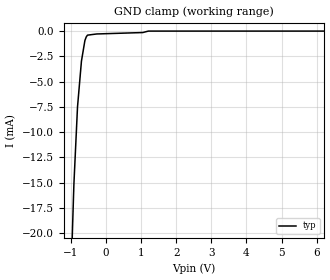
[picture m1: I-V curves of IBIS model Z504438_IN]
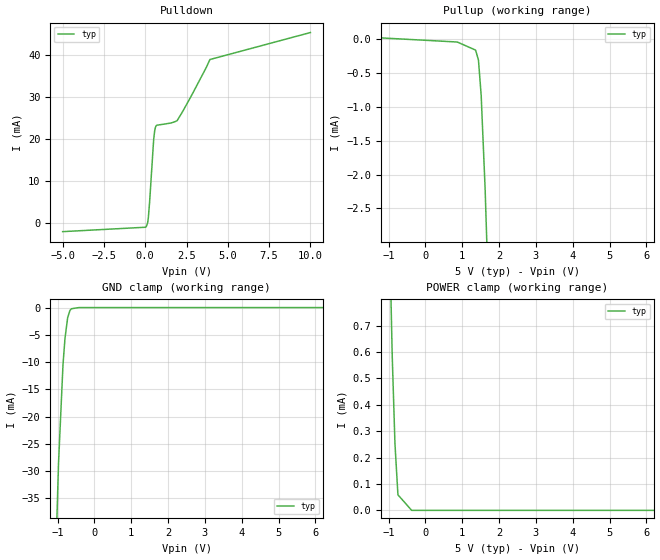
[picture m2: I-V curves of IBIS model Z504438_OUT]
| YOU ARE ONLY AUTHORIZED TO USE THIS SOFTWARE
| ACCORDING TO LICENSOR'S LICENSE RESTRICTIONS.
[IBIS Ver] 3.1
[File Name] sn54ls30j.ibs
[File Rev] 2.0
[Source] Measured and created by ICX Technology
[Date] Friday 7/14/00 9:08:14 AM
[Copyright]
| (C) COPYRIGHT 1993-2000
| MENTOR GRAPHICS CORPORATION
| ICX STANDARD LIBRARY, ICX PROJECT MODELING,
| ICX CUSTOM MODELING, ICX VENDOR MODEL
| ALL RIGHTS RESERVED.
| THE FOLLOWING ARE TRADEMARKS OR SERVICE MARKS OF
| MENTOR GRAPHICS CORPORATION:ICX (R), ICX STANDARD
| LIBRARY(R), ICX PROJECT MODELING(R), ICX CUSTOM
| MODELING(R), qualityIBIS(TM), MODELVIEWER(TM),
| AND MODELEDITOR(TM)
| ALL COPIES OF SOFTWARE, INCLUDING BUT NOT LIMITED TO
| ANY MODIFICATIONS, ENHANCEMENTS OR DERIVATIVE WORKS,
| MUST CONTAIN ALL MENTOR GRAPHICS CORPORATION'S
| NOTICES AND LEGENDS, INCLUDING THOSE EMBEDDED IN
| SOFTWARE AND THOSE AFFIXED TO SOFTWARE MEDIUM
| AND CONTAINER, AS RECEIVED FROM MENTOR GRAPHICS
| CORPORATION.
|  ZAP Model Builder 2.7
[Component] SN54LS30J
[Manufacturer] OnSemiconductor
[Package]
| variable   typ   min   max
R_pkg  .21ohms NA NA
L_pkg  4.543nH NA NA
C_pkg  1.8pF NA NA
[Pin] signal_name  model_name  R_pin  L_pin C_pin
1 A Z504438_IN .22 6.757n 2.434p
2 B Z504438_IN .212 4.757n 1.941p
3 C Z504438_IN .204 3.257n 1.448p
4 D Z504438_IN .196 2.257n .955p
5 E Z504438_IN .204 3.257n 1.448p
6 F Z504438_IN .212 4.757n 1.941p
7 GND GND .22 6.757n 2.434p
8 Y Z504438_OUT .22 6.757n 2.434p
9 NC NC .212 4.757n 1.941p
10 NC NC .204 3.257n 1.448p
11 G Z504438_IN .196 2.257n .955p
12 H Z504438_IN .204 3.257n 1.448p
13 NC NC .212 4.757n 1.941p
14 VCC POWER .22 6.757n 2.434p
| Models and submodels in the file (2): Z504438_IN (Input), Z504438_OUT (Output)
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| (C) COPYRIGHT 1993-2000
| MENTOR GRAPHICS CORPORATION
| ICX STANDARD LIBRARY, ICX PROJECT MODELING,
| ICX CUSTOM MODELING, ICX VENDOR MODEL
| ALL RIGHTS RESERVED.
| THE FOLLOWING ARE TRADEMARKS OR SERVICE MARKS OF
| MENTOR GRAPHICS CORPORATION:ICX (R), ICX STANDARD
| LIBRARY(R), ICX PROJECT MODELING(R), ICX CUSTOM
| MODELING(R), qualityIBIS(TM), MODELVIEWER(TM),
| AND MODELEDITOR(TM)
| ALL COPIES OF SOFTWARE, INCLUDING BUT NOT LIMITED TO
| ANY MODIFICATIONS, ENHANCEMENTS OR DERIVATIVE WORKS,
| MUST CONTAIN ALL MENTOR GRAPHICS CORPORATION'S
| NOTICES AND LEGENDS, INCLUDING THOSE EMBEDDED IN
| SOFTWARE AND THOSE AFFIXED TO SOFTWARE MEDIUM
| AND CONTAINER, AS RECEIVED FROM MENTOR GRAPHICS
| CORPORATION.
| Model Application Version 1.89 2/18/99.
[Model] Z504438_IN
Model_type Input
Vinl = 800.0mV
Vinh = 2.000V
C_comp 4.000pF NA NA
| variable typ   min   max
[Voltage Range] 5.000V NA NA
[GND Clamp Reference] 0.000V NA NA
[POWER Clamp Reference] 5.000V NA NA
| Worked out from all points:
|   GND clamp passes 1 mA (typ) near -0.60 V on its own axis
[GND Clamp]
-5V       -467.9mA   NA         NA
-913mV    -15.14mA   NA         NA
-810.5mV  -7.52mA    NA         NA
-698.4mV  -2.983mA   NA         NA
-600mV    -941.2uA   NA         NA
-562.9mV  -593.2uA   NA         NA
-527.3mV  -409.6uA   NA         NA
-263.7mV  -291.1uA   NA         NA
1.049V    -150.1uA   NA         NA
1.207V    -6.514uA   NA         NA
10V       -6.514uA   NA         NA
[POWER Clamp]
-5V       0A         NA         NA
10V       0A         NA         NA
| (C) COPYRIGHT 1993-2000
| MENTOR GRAPHICS CORPORATION
| ICX STANDARD LIBRARY, ICX PROJECT MODELING,
| ICX CUSTOM MODELING, ICX VENDOR MODEL
| ALL RIGHTS RESERVED.
| THE FOLLOWING ARE TRADEMARKS OR SERVICE MARKS OF
| MENTOR GRAPHICS CORPORATION:ICX (R), ICX STANDARD
| LIBRARY(R), ICX PROJECT MODELING(R), ICX CUSTOM
| MODELING(R), qualityIBIS(TM), MODELVIEWER(TM),
| AND MODELEDITOR(TM)
| ALL COPIES OF SOFTWARE, INCLUDING BUT NOT LIMITED TO
| ANY MODIFICATIONS, ENHANCEMENTS OR DERIVATIVE WORKS,
| MUST CONTAIN ALL MENTOR GRAPHICS CORPORATION'S
| NOTICES AND LEGENDS, INCLUDING THOSE EMBEDDED IN
| SOFTWARE AND THOSE AFFIXED TO SOFTWARE MEDIUM
| AND CONTAINER, AS RECEIVED FROM MENTOR GRAPHICS
| CORPORATION.
| Model Application Version 1.89 2/18/99.
[Model] Z504438_OUT
Model_type Output
Vref=5.000V
Rref=2.000kohms
Cref=15.00pF
Vmeas=1.300V
C_comp 8.000pF NA NA
| variable typ   min   max
[Voltage Range] 5.000V NA NA
[POWER Clamp Reference] 5.000V NA NA
[Pullup Reference] 5.000V NA NA
[Pulldown Reference] 0.000V NA NA
[GND Clamp Reference] 0.000V NA NA
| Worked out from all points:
|   slope of the pulldown table from 0 to 0.75 V, typ, clamps not added: 31 ohm
|   slope of the pullup table from 0 to 0.75 V, typ, clamps not added: 34 kohm
|   GND clamp passes 1 mA (typ) near -0.69 V on its own axis
|   POWER clamp passes 1 mA (typ) near -0.97 V on its own axis
[GND Clamp]
-5V       -1.199A    NA         NA
-1.152V   -68.85mA   NA         NA
-976.3mV  -28.64mA   NA         NA
-854.2mV  -10.44mA   NA         NA
-800.8mV  -5.669mA   NA         NA
-727.5mV  -1.837mA   NA         NA
-664.1mV  -498.1uA   NA         NA
-625mV    -215.2uA   NA         NA
-416.7mV  0A         NA         NA
10V       0A         NA         NA
[Pulldown]
-5V       -2.018mA   NA         NA
29.3mV    -970.4uA   NA         NA
151.5mV   199uA      NA         NA
189.2mV   1.341mA    NA         NA
263.6mV   4.959mA    NA         NA
506.6mV   19.62mA    NA         NA
566.4mV   21.76mA    NA         NA
643.1mV   22.99mA    NA         NA
1.934V    24.32mA    NA         NA
2.851V    30.63mA    NA         NA
3.916V    38.81mA    NA         NA
10V       45.21mA    NA         NA
[Pullup]
-5V       135.4uA    NA         NA
864mV     -37.28uA   NA         NA
1.362V    -157.1uA   NA         NA
1.44V     -304.6uA   NA         NA
1.514V    -829.8uA   NA         NA
1.621V    -2.214mA   NA         NA
10V       -146.7mA   NA         NA
[POWER Clamp]
-5V       31.04mA    NA         NA
-1.055V   1.575mA    NA         NA
-903mV    590.8uA    NA         NA
-828mV    253.6uA    NA         NA
-747mV    58.89uA    NA         NA
-373.5mV  0A         NA         NA
10V       0A         NA         NA
[Ramp]
| variable typ min max
dV/dt_r 1.816/10.34n NA NA
dV/dt_f 1.816/5.187n NA NA
R_load = 500.0Ohms
